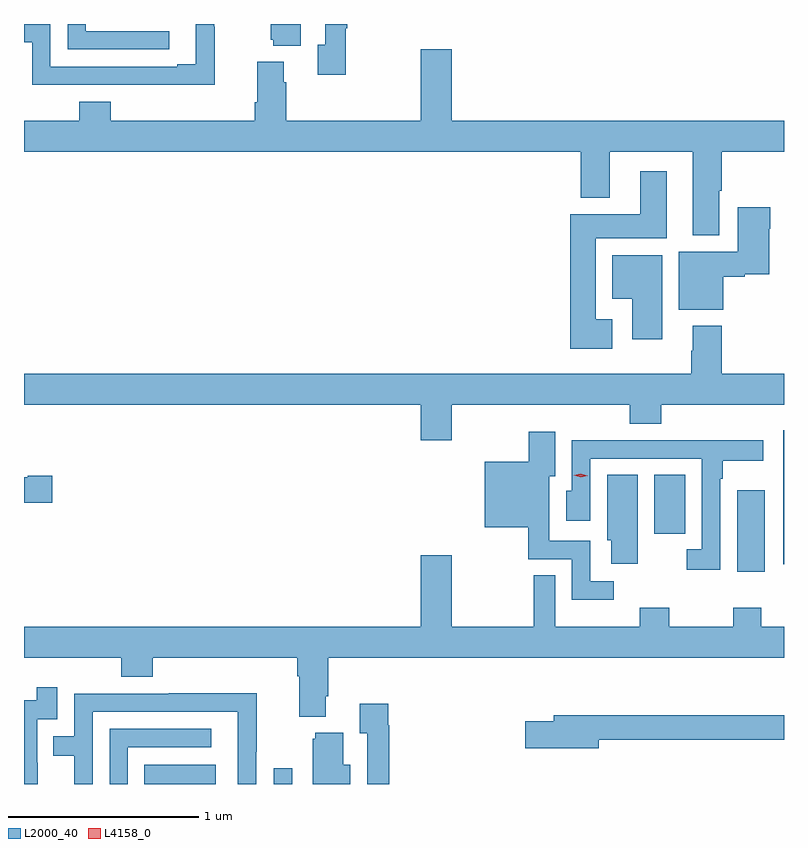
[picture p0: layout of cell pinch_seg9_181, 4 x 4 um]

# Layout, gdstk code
import gdstk
lib = gdstk.Library(unit=1e-6, precision=1e-09)
def R(c, l, rs):  # rectangles x0, y0, x1, y1
    for r in rs: c.add(gdstk.rectangle(r[:2], r[2:], *l))
def P(c, l, *ps):  # polygons
    for p in ps: c.add(gdstk.Polygon(p, *l))
L2000_40 = (2000, 40)
L4158_0 = (4158, 0)

pinch_seg9_181 = lib.new_cell('pinch_seg9_181')
R(pinch_seg9_181, L2000_40, [(762.952,1171.78,763.33,1171.882), (763.635,1171.78,763.731,1171.864), (766.073,1172.898,766.219,1173.325), (766.316,1172.936,766.32,1173.643), (765.638,1173.096,765.799,1173.407)])
P(pinch_seg9_181, L2000_40, [(763.777,1175.78),(763.619,1175.78),(763.619,1175.697),(763.631,1175.697),(763.631,1175.666),(763.777,1175.666)],
  [(764.014,1175.758),(764.021,1175.758),(764.021,1175.78),(763.905,1175.78),(763.905,1175.67),(763.865,1175.67),(763.865,1175.514),(764.014,1175.514)],
  [(763.323,1175.765),(763.32,1175.765),(763.32,1175.78),(763.224,1175.78),(763.224,1175.569),(763.127,1175.569),(763.127,1175.556),(762.459,1175.556),(762.459,1175.78),(762.32,1175.78),(762.32,1175.685),(762.363,1175.685),(762.363,1175.46),(762.859,1175.46),(762.859,1175.459),(763.323,1175.459)],
  [(763.084,1175.742),(762.645,1175.742),(762.645,1175.78),(762.549,1175.78),(762.549,1175.646),(763.084,1175.646)],
  [(765.979,1174.903),(765.992,1174.903),(765.992,1175.108),(766.32,1175.108),(766.32,1175.272),(764.572,1175.272),(764.572,1175.647),(764.408,1175.647),(764.408,1175.272),(763.7,1175.272),(763.7,1175.474),(763.687,1175.474),(763.687,1175.581),(763.547,1175.581),(763.547,1175.368),(763.535,1175.368),(763.535,1175.272),(762.776,1175.272),(762.776,1175.371),(762.611,1175.371),(762.611,1175.272),(762.32,1175.272),(762.32,1175.108),(765.251,1175.108),(765.251,1174.865),(765.403,1174.865),(765.403,1175.108),(765.839,1175.108),(765.839,1174.667),(765.979,1174.667)],
  [(765.415,1174.225),(765.328,1174.225),(765.328,1174.652),(765.703,1174.652),(765.703,1175.005),(765.563,1175.005),(765.563,1174.78),(765.194,1174.78),(765.194,1174.07),(765.415,1174.07)],
  [(766,1174.451),(766.113,1174.451),(766.113,1174.463),(766.242,1174.463),(766.242,1174.703),(766.247,1174.703),(766.247,1174.816),(766.076,1174.816),(766.076,1174.582),(765.767,1174.582),(765.767,1174.277),(766,1174.277)],
  [(765.679,1174.564),(765.416,1174.564),(765.416,1174.334),(765.521,1174.334),(765.521,1174.122),(765.679,1174.122)],
  [(764.572,1173.776),(765.509,1173.776),(765.509,1173.677),(765.674,1173.677),(765.674,1173.776),(766.32,1173.776),(766.32,1173.94),(765.992,1173.94),(765.992,1174.192),(765.839,1174.192),(765.839,1174.061),(765.832,1174.061),(765.832,1173.94),(762.32,1173.94),(762.32,1173.776),(764.408,1173.776),(764.408,1173.588),(764.572,1173.588)],
  [(765.424,1172.847),(765.3,1172.847),(765.3,1173.06),(765.085,1173.06),(765.085,1173.401),(765.115,1173.401),(765.115,1173.634),(764.977,1173.634),(764.977,1173.475),(764.744,1173.475),(764.744,1173.131),(764.974,1173.131),(764.974,1172.964),(765.204,1172.964),(765.204,1172.75),(765.424,1172.75)],
  [(765.984,1173.386),(765.997,1173.386),(765.997,1173.482),(766.21,1173.482),(766.21,1173.59),(765.791,1173.59),(765.791,1173.588),(765.425,1173.588),(765.425,1173.59),(765.204,1173.59),(765.204,1173.324),(765.173,1173.324),(765.173,1173.165),(765.3,1173.165),(765.3,1173.492),(765.888,1173.492),(765.888,1173.015),(765.807,1173.015),(765.807,1172.907),(765.984,1172.907)],
  [(765.55,1173.407),(765.389,1173.407),(765.389,1173.063),(765.41,1173.063),(765.41,1172.94),(765.55,1172.94)],
  [(762.469,1173.402),(762.339,1173.402),(762.339,1173.394),(762.32,1173.394),(762.32,1173.26),(762.469,1173.26)],
  [(763.909,1172.242),(763.922,1172.242),(763.922,1172.444),(766.32,1172.444),(766.32,1172.608),(766.201,1172.608),(766.201,1172.707),(766.054,1172.707),(766.054,1172.608),(765.717,1172.608),(765.717,1172.707),(765.562,1172.707),(765.562,1172.608),(765.115,1172.608),(765.115,1172.879),(765.004,1172.879),(765.004,1172.608),(764.572,1172.608),(764.572,1172.983),(764.408,1172.983),(764.408,1172.608),(762.32,1172.608),(762.32,1172.444),(762.833,1172.444),(762.833,1172.345),(762.998,1172.345),(762.998,1172.444),(763.757,1172.444),(763.757,1172.348),(763.769,1172.348),(763.769,1172.135),(763.909,1172.135)],
  [(762.392,1171.892),(762.39,1171.892),(762.39,1172.121),(762.495,1172.121),(762.495,1172.29),(762.387,1172.29),(762.387,1172.22),(762.32,1172.22),(762.32,1171.78),(762.392,1171.78)],
  [(762.681,1172.16),(763.446,1172.16),(763.446,1171.78),(763.542,1171.78),(763.542,1171.951),(763.545,1171.951),(763.545,1172.258),(763.081,1172.258),(763.081,1172.256),(762.585,1172.256),(762.585,1172.031),(762.475,1172.031),(762.475,1171.93),(762.585,1171.93),(762.585,1171.78),(762.681,1171.78)],
  [(764.243,1172.09),(764.236,1172.09),(764.236,1172.203),(764.087,1172.203),(764.087,1172.047),(764.127,1172.047),(764.127,1171.78),(764.243,1171.78)],
  [(765.346,1172.014),(766.32,1172.014),(766.32,1172.143),(765.107,1172.143),(765.107,1172.109),(764.958,1172.109),(764.958,1171.967),(765.346,1171.967)],
  [(762.867,1171.974),(763.306,1171.974),(763.306,1172.07),(762.771,1172.07),(762.771,1171.78),(762.867,1171.78)],
  [(764.038,1171.882),(763.999,1171.882),(763.999,1172.05),(763.853,1172.05),(763.853,1172.019),(763.841,1172.019),(763.841,1171.78),(764.038,1171.78)])
P(pinch_seg9_181, L4158_0, [(765.25,1173.394),(765.214,1173.405),(765.214,1173.406),(765.214,1173.406),(765.25,1173.414),(765.286,1173.403),(765.286,1173.403),(765.286,1173.403)])

lib.write_gds('pinch_seg9_181.gds')
